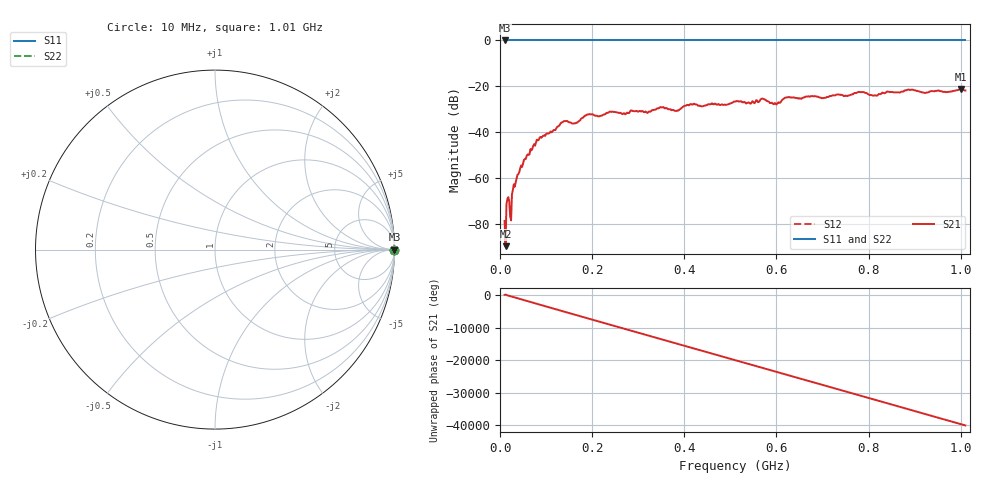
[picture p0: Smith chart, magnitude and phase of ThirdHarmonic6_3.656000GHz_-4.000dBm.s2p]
! 8/17/2025 12:19:09 PM
! C:\ANRITSUVNA\TEMP\TEMP.S2P
! CHANNEL.1
! TR.MEASUREMENT
! RAW.DATA
! RF.CORRECTION.OFF
! AVERAGING.OFF
! IF.BANDWIDTH: 5KHZ
! SWEEPTYPE:  FREQ.SWEEP(Linear)
! Reference Plane Port Info
! PORT:  PORT1  PORT2
! DISTANCE:  0  m  0  m
! TIME:  0  s  0  s
! PHASE.OFFSET:  0  deg.  0  deg.
! LOSS:  0  dB  0  dB
! REF.LOSS:  0  dB  0  dB
! REF.FREQ:  0  Hz  0  Hz
! Power Info
! POWER:  -20  dBm  -20  dBm
! EFF.POWER:  -20  dBm  -20  dBm
! SOURCE.ATTEN:  0  dB  0  dB
! TEST.ATTEN:  0  dB  0  dB
# GHZ S RI R 50.0
! FREQ.GHZ  S11RE  S11IM  S21RE  S21IM  S12RE  S12IM  S22RE  S22IM
!; PortSelection: Port_12
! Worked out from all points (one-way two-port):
!   501 points, 10 MHz to 1.01 GHz, reference 50 ohm
!   highest |S21| = -21.18 dB at 1 GHz (marker M1); lowest = -89.6 dB at 12 MHz (marker M2)
!   lowest |S11| = 0.0 dB at 10 MHz (marker M3)
!   |S11| at or under -10 dB: nowhere
!   |S22| runs from 0.0 to 0.0 dB; largest |S21 - S12| = 1.1
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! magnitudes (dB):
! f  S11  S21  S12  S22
! 10 MHz  0.0  -78.6  0.0  0.0
! 12 MHz  0.0  -89.6  0.0  0.0
! 18 MHz  0.0  -68.3  0.0  0.0
! 24 MHz  0.0  -78.4  0.0  0.0
! 30 MHz  0.0  -62.6  0.0  0.0
! 42 MHz  0.0  -57.2  0.0  0.0
! 84 MHz  0.0  -43.3  0.0  0.0
! 136 MHz  0.0  -35.6  0.0  0.0
! 162 MHz  0.0  -36.1  0.0  0.0
! 178 MHz  0.0  -33.8  0.0  0.0
! 192 MHz  0.0  -32.2  0.0  0.0
! 344 MHz  0.0  -29.6  0.0  0.0
! 384 MHz  0.0  -30.5  0.0  0.0
! 416 MHz  0.0  -27.9  0.0  0.0
! 510 MHz  0.0  -26.6  0.0  0.0
! 570 MHz  0.0  -25.3  0.0  0.0
! 598 MHz  0.0  -27.3  0.0  0.0
! 622 MHz  0.0  -24.8  0.0  0.0
! 678 MHz  0.0  -24.3  0.0  0.0
! 844 MHz  0.0  -22.4  0.0  0.0
! 1 GHz  0.0  -21.2  0.0  0.0
! 1.01 GHz  0.0  -21.8  0.0  0.0
